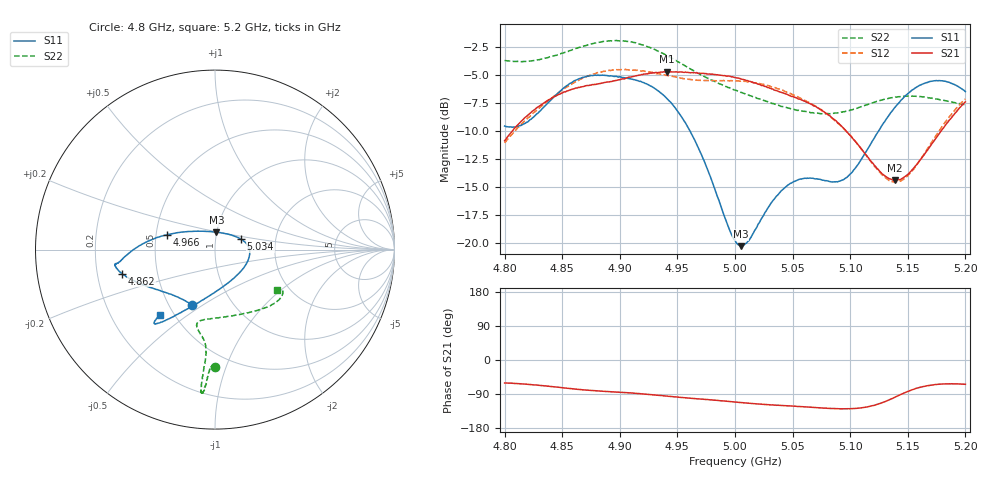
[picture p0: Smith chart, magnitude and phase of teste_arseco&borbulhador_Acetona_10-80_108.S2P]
! Network Analyzer HP8722D
! Hewlett-Packard
! Data name: Linha & Wilkinson
! Saver's name: Rodrigo Anjos
! Comments: Teste da utilização de aquisição
! continua pelo VNA HP8722D
! Time and date: 17/4/2025 15:15
!  Frequency  S11  S21  S12  S22
# HZ  S  MA R 50
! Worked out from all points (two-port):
!   401 points, 4.8 GHz to 5.2 GHz, reference 50 ohm
!   highest |S21| = -4.68 dB at 4.941 GHz (marker M1); lowest = -14.4 dB at 5.139 GHz (marker M2)
!   |S21| within 3 dB of the highest: 4.831 GHz to 5.068 GHz (236.4 MHz wide, 4.78 % of centre); 5.196983 GHz to end of sweep
!   lowest |S11| = -20.3 dB at 5.005 GHz (marker M3), VSWR 1.21, Z = 49.9 + j9.71 ohm
!   |S11| at or under -10 dB: 4.961 GHz to 5.124 GHz (163.4 MHz wide, 3.24 % of centre)
!   |S22| runs from -8.4 to -1.9 dB; largest |S21 - S12| = 0.87
!   S11 on the Smith chart (normalised r, x): 4.8 GHz: 0.65, -0.45; 4.862 GHz: 0.31, -0.12; 4.966 GHz: 0.57, +0.10; 5.034 GHz: 1.33, +0.16; 5.2 GHz: 0.42, -0.39
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4.8e9  0.3336 -113.1  0.2867 -60.7  0.2806 -175.0  0.6552 -90.0
4.819e9  0.3464 -133.0  0.3678 -64.0  0.3576 -173.4  0.65 -91.5
4.862e9  0.5357 -165.5  0.494 -76.9  0.5275 -176.6  0.7425 -93.7
4.867e9  0.5483 -167.5  0.4995 -78.5  0.5437 -177.7  0.756 -93.9
4.903e9  0.5498 -172.0  0.5418 -85.6  0.5968 175.1  0.8014 -95.4
4.934e9  0.4765 -177.9  0.5794 -93.4  0.571 171.9  0.7171 -95.7
4.941e9  0.4419 179.0  0.5833 -95.2  0.5623 171.9  0.6891 -95.4
4.966e9  0.2816 163.1  0.5762 -101.9  0.5352 173.9  0.5829 -94.9
5e9  0.1027 102.7  0.5494 -111.1  0.5321 176.3  0.4832 -99.2
5.005e9  0.0968 85.2  0.5422 -112.3  0.5291 176.3  0.4718 -100.3
5.012e9  0.1024 62.4  0.5294 -114.1  0.526 175.9  0.4587 -101.8
5.034e9  0.157 21.5  0.4831 -119.1  0.4964 175.1  0.4187 -103.5
5.049e9  0.1855 6.0  0.4525 -121.5  0.4643 174.3  0.398 -100.0
5.067e9  0.195 -13.1  0.4156 -124.8  0.4175 173.8  0.383 -90.8
5.087e9  0.1877 -45.1  0.354 -128.6  0.352 173.7  0.3815 -75.7
5.097e9  0.1964 -65.7  0.3145 -128.8  0.3136 174.7  0.3889 -67.5
5.134e9  0.3747 -116.0  0.1938 -105.0  0.1901 -157.8  0.4449 -43.0
5.139e9  0.4055 -119.2  0.1906 -97.8  0.1874 -149.9  0.4495 -40.8
5.151e9  0.4705 -124.2  0.205 -81.8  0.2029 -131.4  0.4543 -36.3
5.17e9  0.5287 -128.6  0.2734 -66.4  0.2788 -112.3  0.445 -31.8
5.184e9  0.526 -129.9  0.3441 -63.0  0.3555 -107.2  0.4317 -30.9
5.2e9  0.4756 -130.4  0.4277 -64.1  0.4408 -106.3  0.4149 -33.2
